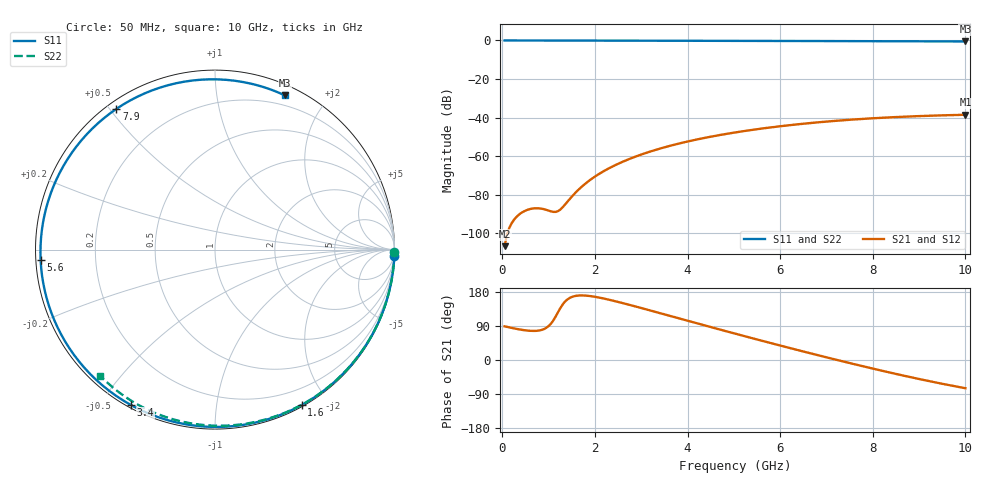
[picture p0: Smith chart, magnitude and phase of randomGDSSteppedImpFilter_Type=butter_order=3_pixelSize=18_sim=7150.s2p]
! freq	dB(S11)	phase(S11)	dB(S12)	phase(S12)
!  dB(S21)	phase(S21)	dB(S22)	phase(S22)
!S-par simulation data
#  GHz  S  DB  R 50
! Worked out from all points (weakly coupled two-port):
!   200 points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, 50 MHz to 10 GHz, reference 50 ohm
!   highest |S21| = -38.56 dB at 10 GHz (marker M1); lowest = -106.8 dB at 50 MHz (marker M2)
!   lowest |S11| = -0.5 dB at 10 GHz (marker M3), VSWR 34.20, Z = 4.97 + j77.3 ohm
!   |S11| at or under -10 dB: nowhere
!   |S22| runs from -0.4 to 0.0 dB; largest |S21 - S12| = 0
!   S11 on the Smith chart (normalised r, x): 50 MHz: 0, -57; 1.6 GHz: 0.02, -1.70; 3.4 GHz: 0.01, -0.60; 5.6 GHz: 0.01, -0.03; 7.9 GHz: 0.03, +0.52; 10 GHz: 0.10, +1.55
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0.05  -0.00 -2.0  -106.76 88.8  -106.76 88.8  -0.00 -0.8
0.4  -0.02 -15.8  -89.66 80.0  -89.66 80.0  -0.01 -6.1
0.75  -0.04 -29.3  -87.07 77.1  -87.07 77.1  -0.01 -11.4
1.15  -0.06 -44.5  -88.97 114.2  -88.97 114.2  -0.02 -17.4
1.5  -0.07 -57.3  -81.07 166.3  -81.07 166.3  -0.03 -22.6
1.55  -0.07 -59.1  -79.75 168.2  -79.75 168.2  -0.03 -23.4
1.6  -0.07 -60.8  -78.50 169.5  -78.50 169.5  -0.03 -24.1
1.75  -0.08 -66.1  -75.16 170.3  -75.16 170.3  -0.03 -26.3
2.05  -0.09 -76.4  -69.86 165.7  -69.86 165.7  -0.04 -30.7
2.45  -0.10 -89.6  -64.58 154.8  -64.58 154.8  -0.05 -36.6
2.9  -0.12 -103.7  -60.07 140.5  -60.07 140.5  -0.06 -43.0
3.4  -0.14 -118.4  -56.15 123.9  -56.15 123.9  -0.07 -50.1
4.25  -0.17 -141.9  -51.14 95.3  -51.14 95.3  -0.09 -61.8
5.05  -0.21 -162.6  -47.65 68.8  -47.65 68.8  -0.11 -72.5
5.6  -0.24 -176.5  -45.73 50.9  -45.73 50.9  -0.13 -79.7
6.15  -0.27 169.8  -44.11 33.4  -44.11 33.4  -0.15 -86.7
6.7  -0.30 156.0  -42.75 16.2  -42.75 16.2  -0.18 -93.5
7.3  -0.34 140.7  -41.52 -2.1  -41.52 -2.1  -0.21 -100.8
7.9  -0.38 125.0  -40.53 -19.8  -40.53 -19.8  -0.25 -107.9
8.35  -0.41 112.9  -39.93 -32.6  -39.93 -32.6  -0.29 -113.2
9.2  -0.46 89.0  -39.09 -55.3  -39.09 -55.3  -0.36 -123.1
10  -0.51 65.6  -38.56 -74.5  -38.56 -74.5  -0.45 -132.2
